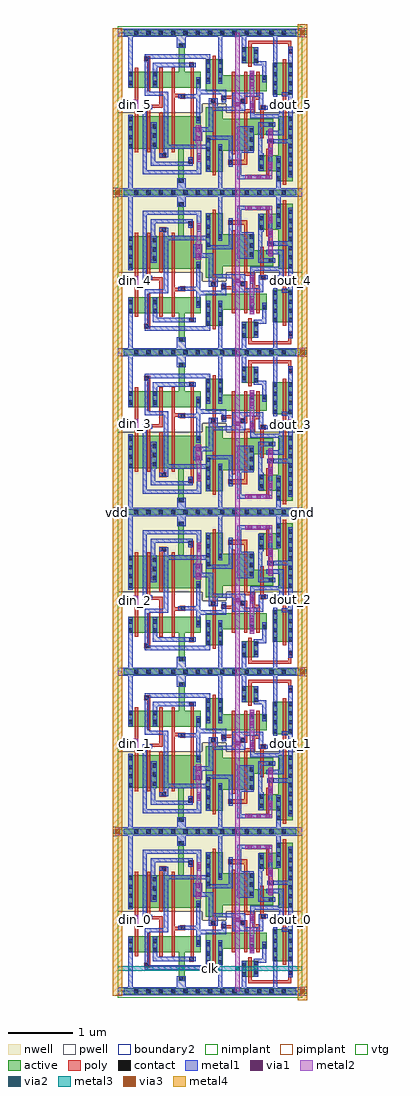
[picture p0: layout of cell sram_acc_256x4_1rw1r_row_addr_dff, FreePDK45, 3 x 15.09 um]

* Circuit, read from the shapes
.subckt sram_acc_256x4_1rw1r_row_addr_dff clk din_0 din_1 din_2 din_3 din_4 din_5 dout_0 dout_1 dout_2 dout_3 dout_4 dout_5 gnd vdd
M1 n1 din_0 gnd gnd nfet w=0.25u l=0.05u
M2 n2 din_1 gnd gnd nfet w=0.25u l=0.05u
M3 n3 din_2 gnd gnd nfet w=0.25u l=0.05u
M4 n4 din_3 gnd gnd nfet w=0.25u l=0.05u
M5 n5 din_4 gnd gnd nfet w=0.25u l=0.05u
M6 n6 din_5 gnd gnd nfet w=0.25u l=0.05u
M7 n7 n8 n1 gnd nfet w=0.25u l=0.05u
M8 n9 n10 n2 gnd nfet w=0.25u l=0.05u
M9 n11 n12 n3 gnd nfet w=0.25u l=0.05u
M10 n13 n14 n4 gnd nfet w=0.25u l=0.05u
M11 n15 n16 n5 gnd nfet w=0.25u l=0.05u
M12 n17 n18 n6 gnd nfet w=0.25u l=0.05u
M13 n19 clk n7 gnd nfet w=0.25u l=0.05u
M14 n20 clk n9 gnd nfet w=0.25u l=0.05u
M15 n21 clk n11 gnd nfet w=0.25u l=0.05u
M16 n22 clk n13 gnd nfet w=0.25u l=0.05u
M17 n23 clk n15 gnd nfet w=0.25u l=0.05u
M18 n24 clk n17 gnd nfet w=0.25u l=0.05u
M19 gnd n25 n19 gnd nfet w=0.25u l=0.05u
M20 gnd n26 n20 gnd nfet w=0.25u l=0.05u
M21 gnd n27 n21 gnd nfet w=0.25u l=0.05u
M22 gnd n28 n22 gnd nfet w=0.25u l=0.05u
M23 gnd n29 n23 gnd nfet w=0.25u l=0.05u
M24 gnd n30 n24 gnd nfet w=0.25u l=0.05u
M25 n25 n7 gnd gnd nfet w=0.25u l=0.05u
M26 n26 n9 gnd gnd nfet w=0.25u l=0.05u
M27 n27 n11 gnd gnd nfet w=0.25u l=0.05u
M28 n28 n13 gnd gnd nfet w=0.25u l=0.05u
M29 n29 n15 gnd gnd nfet w=0.25u l=0.05u
M30 n30 n17 gnd gnd nfet w=0.25u l=0.05u
M31 gnd clk n8 gnd nfet w=0.5u l=0.05u
M32 gnd clk n10 gnd nfet w=0.5u l=0.05u
M33 gnd clk n12 gnd nfet w=0.5u l=0.05u
M34 gnd clk n14 gnd nfet w=0.5u l=0.05u
M35 gnd clk n16 gnd nfet w=0.5u l=0.05u
M36 gnd clk n18 gnd nfet w=0.5u l=0.05u
M37 n31 n25 gnd gnd nfet w=0.25u l=0.05u
M38 n32 n26 gnd gnd nfet w=0.25u l=0.05u
M39 n33 n27 gnd gnd nfet w=0.25u l=0.05u
M40 n34 n28 gnd gnd nfet w=0.25u l=0.05u
M41 n35 n29 gnd gnd nfet w=0.25u l=0.05u
M42 n36 n30 gnd gnd nfet w=0.25u l=0.05u
M43 n37 clk n31 gnd nfet w=0.25u l=0.05u
M44 n38 clk n32 gnd nfet w=0.25u l=0.05u
M45 n39 clk n33 gnd nfet w=0.25u l=0.05u
M46 n40 clk n34 gnd nfet w=0.25u l=0.05u
M47 n41 clk n35 gnd nfet w=0.25u l=0.05u
M48 n42 clk n36 gnd nfet w=0.25u l=0.05u
M49 n43 dout_0 gnd gnd nfet w=0.25u l=0.05u
M50 n44 dout_1 gnd gnd nfet w=0.25u l=0.05u
M51 n45 dout_2 gnd gnd nfet w=0.25u l=0.05u
M52 n46 dout_3 gnd gnd nfet w=0.25u l=0.05u
M53 n47 dout_4 gnd gnd nfet w=0.25u l=0.05u
M54 n48 dout_5 gnd gnd nfet w=0.25u l=0.05u
M55 n43 n8 n37 gnd nfet w=0.25u l=0.05u
M56 n44 n10 n38 gnd nfet w=0.25u l=0.05u
M57 n45 n12 n39 gnd nfet w=0.25u l=0.05u
M58 n46 n14 n40 gnd nfet w=0.25u l=0.05u
M59 n47 n16 n41 gnd nfet w=0.25u l=0.05u
M60 n48 n18 n42 gnd nfet w=0.25u l=0.05u
M61 dout_0 n37 gnd gnd nfet w=0.5u l=0.05u
M62 dout_1 n38 gnd gnd nfet w=0.5u l=0.05u
M63 dout_2 n39 gnd gnd nfet w=0.5u l=0.05u
M64 dout_3 n40 gnd gnd nfet w=0.5u l=0.05u
M65 dout_4 n41 gnd gnd nfet w=0.5u l=0.05u
M66 dout_5 n42 gnd gnd nfet w=0.5u l=0.05u
M67 n49 din_0 vdd vdd pfet w=0.5u l=0.05u
M68 n50 din_1 vdd vdd pfet w=0.5u l=0.05u
M69 n51 din_2 vdd vdd pfet w=0.5u l=0.05u
M70 n52 din_3 vdd vdd pfet w=0.5u l=0.05u
M71 n53 din_4 vdd vdd pfet w=0.5u l=0.05u
M72 n54 din_5 vdd vdd pfet w=0.5u l=0.05u
M73 n7 clk n49 vdd pfet w=0.5u l=0.05u
M74 n9 clk n50 vdd pfet w=0.5u l=0.05u
M75 n11 clk n51 vdd pfet w=0.5u l=0.05u
M76 n13 clk n52 vdd pfet w=0.5u l=0.05u
M77 n15 clk n53 vdd pfet w=0.5u l=0.05u
M78 n17 clk n54 vdd pfet w=0.5u l=0.05u
M79 n55 n8 n7 vdd pfet w=0.5u l=0.05u
M80 n56 n10 n9 vdd pfet w=0.5u l=0.05u
M81 n57 n12 n11 vdd pfet w=0.5u l=0.05u
M82 n58 n14 n13 vdd pfet w=0.5u l=0.05u
M83 n59 n16 n15 vdd pfet w=0.5u l=0.05u
M84 n60 n18 n17 vdd pfet w=0.5u l=0.05u
M85 vdd n25 n55 vdd pfet w=0.5u l=0.05u
M86 vdd n26 n56 vdd pfet w=0.5u l=0.05u
M87 vdd n27 n57 vdd pfet w=0.5u l=0.05u
M88 vdd n28 n58 vdd pfet w=0.5u l=0.05u
M89 vdd n29 n59 vdd pfet w=0.5u l=0.05u
M90 vdd n30 n60 vdd pfet w=0.5u l=0.05u
M91 n25 n7 vdd vdd pfet w=0.5u l=0.05u
M92 n26 n9 vdd vdd pfet w=0.5u l=0.05u
M93 n27 n11 vdd vdd pfet w=0.5u l=0.05u
M94 n28 n13 vdd vdd pfet w=0.5u l=0.05u
M95 n29 n15 vdd vdd pfet w=0.5u l=0.05u
M96 n30 n17 vdd vdd pfet w=0.5u l=0.05u
M97 vdd clk n8 vdd pfet w=1u l=0.05u
M98 vdd clk n10 vdd pfet w=1u l=0.05u
M99 vdd clk n12 vdd pfet w=1u l=0.05u
M100 vdd clk n14 vdd pfet w=1u l=0.05u
M101 vdd clk n16 vdd pfet w=1u l=0.05u
M102 vdd clk n18 vdd pfet w=1u l=0.05u
M103 n61 n25 vdd vdd pfet w=0.5u l=0.05u
M104 n62 n26 vdd vdd pfet w=0.5u l=0.05u
M105 n63 n27 vdd vdd pfet w=0.5u l=0.05u
M106 n64 n28 vdd vdd pfet w=0.5u l=0.05u
M107 n65 n29 vdd vdd pfet w=0.5u l=0.05u
M108 n66 n30 vdd vdd pfet w=0.5u l=0.05u
M109 n37 n8 n61 vdd pfet w=0.5u l=0.05u
M110 n38 n10 n62 vdd pfet w=0.5u l=0.05u
M111 n39 n12 n63 vdd pfet w=0.5u l=0.05u
M112 n40 n14 n64 vdd pfet w=0.5u l=0.05u
M113 n41 n16 n65 vdd pfet w=0.5u l=0.05u
M114 n42 n18 n66 vdd pfet w=0.5u l=0.05u
M115 n67 clk n37 vdd pfet w=0.25u l=0.05u
M116 n68 clk n38 vdd pfet w=0.25u l=0.05u
M117 n69 clk n39 vdd pfet w=0.25u l=0.05u
M118 n70 clk n40 vdd pfet w=0.25u l=0.05u
M119 n71 clk n41 vdd pfet w=0.25u l=0.05u
M120 n72 clk n42 vdd pfet w=0.25u l=0.05u
M121 vdd dout_0 n67 vdd pfet w=0.25u l=0.05u
M122 vdd dout_1 n68 vdd pfet w=0.25u l=0.05u
M123 vdd dout_2 n69 vdd pfet w=0.25u l=0.05u
M124 vdd dout_3 n70 vdd pfet w=0.25u l=0.05u
M125 vdd dout_4 n71 vdd pfet w=0.25u l=0.05u
M126 vdd dout_5 n72 vdd pfet w=0.25u l=0.05u
M127 dout_0 n37 vdd vdd pfet w=1u l=0.05u
M128 dout_1 n38 vdd vdd pfet w=1u l=0.05u
M129 dout_2 n39 vdd vdd pfet w=1u l=0.05u
M130 dout_3 n40 vdd vdd pfet w=1u l=0.05u
M131 dout_4 n41 vdd vdd pfet w=1u l=0.05u
M132 dout_5 n42 vdd vdd pfet w=1u l=0.05u
.ends

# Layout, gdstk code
import gdstk
lib = gdstk.Library(unit=1e-6, precision=5e-10)
def R(c, l, rs):  # rectangles x0, y0, x1, y1
    for r in rs: c.add(gdstk.rectangle(r[:2], r[2:], *l))
def A(c, l, x, y, w, h, nx, ny, dx, dy):  # array of equal rectangles
    R(c, l, [(x+i*dx, y+j*dy, x+i*dx+w, y+j*dy+h) for i in range(nx) for j in range(ny)])
def P(c, l, *ps):  # polygons
    for p in ps: c.add(gdstk.Polygon(p, *l))
active = (1, 0)
pwell = (2, 0)
nwell = (3, 0)
nimplant = (4, 0)
pimplant = (5, 0)
vtg = (6, 0)
poly = (9, 0)
contact = (10, 0)
metal1 = (11, 0)
via1 = (12, 0)
metal2 = (13, 0)
via2 = (14, 0)
metal3 = (15, 0)
via3 = (16, 0)
metal4 = (17, 0)
boundary2 = (239, 0)

dff = lib.new_cell('dff')
A(dff, active, 0.2675, 0.6, 0.05, 0.25, 4, 1, 0.19, 0)
A(dff, active, 0.3175, 0.6, 0.14, 0.25, 3, 1, 0.19, 0)
A(dff, active, 1.7675, 0.6575, 0.05, 0.25, 3, 1, 0.19, 0)
A(dff, active, 0.2675, 1.2925, 0.05, 0.5, 4, 1, 0.19, 0)
A(dff, active, 0.3175, 1.2925, 0.14, 0.5, 3, 1, 0.19, 0)
R(dff, active, [(0.1,-0.045,2.76,0.045), (1.9175,0.2225,2.0225,0.4725), (2.0225,0.2225,2.0725,0.4725), (2.0725,0.2225,2.1775,0.4725), (1.3675,0.4075,1.4725,0.9075), (1.4725,0.4075,1.5225,0.9075), (2.4025,0.4625,2.5575,0.9625), (2.5575,0.4625,2.6075,0.9625), (2.6075,0.4625,2.7125,0.9625), (0.1625,0.6,0.2675,0.85), (1.1325,0.6,1.1825,0.85), (1.1825,0.6,1.2875,0.85), (1.8175,0.6575,1.9575,0.9075), (2.0075,0.6575,2.1475,0.9075), (2.1975,0.6575,2.3075,0.9075), (1.3675,1.15,1.4725,2.15), (1.4725,1.15,1.5225,2.15), (0.1625,1.2925,0.2675,1.7925), (1.1325,1.2925,1.1825,1.7925), (1.1825,1.2925,1.2875,1.7925), (2.5575,1.2925,2.6075,2.2925), (2.6075,1.2925,2.7125,2.2925), (1.7675,1.3275,1.8175,1.8275), (1.8175,1.3275,1.9575,1.8275), (1.9575,1.3275,2.0075,1.8275), (2.2075,1.3275,2.2575,1.5775), (2.2575,1.3275,2.4075,1.5775), (2.1925,1.8925,2.2975,2.1425), (2.2975,1.8925,2.3475,2.1425), (0.1,2.425,2.76,2.515)])
P(dff, active, [(0.8875,1.2925),(0.8875,1.7925),(0.9375,1.7925),(0.9375,2.3225),(1.0275,2.3225),(1.0275,1.7925),(1.1325,1.7925),(1.1325,1.2925)],
  [(1.5225,1.15),(1.5225,2.15),(1.6275,2.15),(1.6275,1.8275),(1.7675,1.8275),(1.7675,1.3275),(1.6275,1.3275),(1.6275,1.15)],
  [(2.0075,1.3275),(2.0075,1.8275),(2.1125,1.8275),(2.1125,1.5775),(2.2075,1.5775),(2.2075,1.3275)],
  [(2.4875,1.2925),(2.4875,1.8925),(2.3475,1.8925),(2.3475,2.1425),(2.4525,2.1425),(2.4525,2.2925),(2.5575,2.2925),(2.5575,1.2925)],
  [(0.9475,0.165),(0.9475,0.6),(0.8875,0.6),(0.8875,0.85),(1.1325,0.85),(1.1325,0.6),(1.0375,0.6),(1.0375,0.165)],
  [(1.5225,0.4075),(1.5225,0.9075),(1.7675,0.9075),(1.7675,0.6575),(1.6275,0.6575),(1.6275,0.4075)])
P(dff, pwell, [(0,-0.1),(0,1.235),(1.3125,1.235),(1.3125,1.095),(1.6825,1.095),(1.6825,1.235),(2.86,1.235),(2.86,-0.1)])
P(dff, nwell, [(1.3125,1.095),(1.3125,1.235),(0,1.235),(0,2.57),(2.86,2.57),(2.86,1.235),(1.6825,1.235),(1.6825,1.095)])
A(dff, nimplant, 0.2675, 0.6, 0.05, 0.25, 4, 1, 0.19, 0)
A(dff, nimplant, 0.3175, 0.6, 0.14, 0.25, 3, 1, 0.19, 0)
A(dff, nimplant, 1.7675, 0.6575, 0.05, 0.25, 3, 1, 0.19, 0)
R(dff, nimplant, [(1.9175,0.2225,2.0225,0.4725), (2.0225,0.2225,2.0725,0.4725), (2.0725,0.2225,2.1775,0.4725), (1.3675,0.4075,1.4725,0.9075), (1.4725,0.4075,1.5225,0.9075), (2.4025,0.4625,2.5575,0.9625), (2.5575,0.4625,2.6075,0.9625), (2.6075,0.4625,2.7125,0.9625), (0.1625,0.6,0.2675,0.85), (1.1325,0.6,1.1825,0.85), (1.1825,0.6,1.2875,0.85), (1.8175,0.6575,1.9575,0.9075), (2.0075,0.6575,2.1475,0.9075), (2.1975,0.6575,2.3075,0.9075), (0.1,2.425,2.76,2.515)])
P(dff, nimplant, [(0.9475,0.165),(0.9475,0.6),(0.8875,0.6),(0.8875,0.85),(1.1325,0.85),(1.1325,0.6),(1.0375,0.6),(1.0375,0.165)],
  [(1.5225,0.4075),(1.5225,0.9075),(1.7675,0.9075),(1.7675,0.6575),(1.6275,0.6575),(1.6275,0.4075)])
A(dff, pimplant, 0.2675, 1.2925, 0.05, 0.5, 4, 1, 0.19, 0)
A(dff, pimplant, 0.3175, 1.2925, 0.14, 0.5, 3, 1, 0.19, 0)
R(dff, pimplant, [(0.1,-0.045,2.76,0.045), (1.3675,1.15,1.4725,2.15), (1.4725,1.15,1.5225,2.15), (0.1625,1.2925,0.2675,1.7925), (1.1325,1.2925,1.1825,1.7925), (1.1825,1.2925,1.2875,1.7925), (2.5575,1.2925,2.6075,2.2925), (2.6075,1.2925,2.7125,2.2925), (1.7675,1.3275,1.8175,1.8275), (1.8175,1.3275,1.9575,1.8275), (1.9575,1.3275,2.0075,1.8275), (2.2075,1.3275,2.2575,1.5775), (2.2575,1.3275,2.4075,1.5775), (2.1925,1.8925,2.2975,2.1425), (2.2975,1.8925,2.3475,2.1425)])
P(dff, pimplant, [(0.8875,1.2925),(0.8875,1.7925),(0.9375,1.7925),(0.9375,2.3225),(1.0275,2.3225),(1.0275,1.7925),(1.1325,1.7925),(1.1325,1.2925)],
  [(1.5225,1.15),(1.5225,2.15),(1.6275,2.15),(1.6275,1.8275),(1.7675,1.8275),(1.7675,1.3275),(1.6275,1.3275),(1.6275,1.15)],
  [(2.0075,1.3275),(2.0075,1.8275),(2.1125,1.8275),(2.1125,1.5775),(2.2075,1.5775),(2.2075,1.3275)],
  [(2.4875,1.2925),(2.4875,1.8925),(2.3475,1.8925),(2.3475,2.1425),(2.4525,2.1425),(2.4525,2.2925),(2.5575,2.2925),(2.5575,1.2925)])
R(dff, vtg, [(0,-0.1,2.86,2.57)])
A(dff, poly, 0.2675, 0.6, 0.05, 0.25, 4, 1, 0.19, 0)
A(dff, poly, 1.7675, 0.6025, 0.05, 0.055, 3, 1, 0.19, 0)
A(dff, poly, 1.7675, 0.6575, 0.05, 0.25, 3, 1, 0.19, 0)
A(dff, poly, 0.2675, 1.2925, 0.05, 0.5, 4, 1, 0.19, 0)
R(dff, poly, [(2.0225,0.2225,2.0725,0.4725), (1.4725,0.3525,1.5225,0.4075), (1.4725,0.4075,1.5225,0.9075), (2.5575,0.4075,2.6075,0.4625), (2.5575,0.4625,2.6075,0.9625), (2.0225,0.4725,2.0725,0.5275), (0.2675,0.545,0.3175,0.6), (0.6475,0.545,0.6975,0.6), (0.8375,0.545,0.8875,0.6), (1.1325,0.6,1.1825,0.85), (0.4575,0.85,0.5075,0.905), (1.1325,0.85,1.1825,1.2925), (1.4725,1.15,1.5225,2.15), (0.6475,1.2375,0.6975,1.2925), (1.1325,1.2925,1.1825,1.7925), (2.5575,1.2925,2.6075,2.2925), (1.7675,1.3275,1.8175,1.8275), (1.9575,1.3275,2.0075,1.8275), (2.2075,1.3275,2.2575,1.5775), (2.2075,1.5775,2.2575,1.6325), (0.2675,1.7925,0.3175,1.8475), (0.4575,1.7925,0.5075,1.8475), (0.8375,1.7925,0.8875,1.8475), (1.7675,1.8275,1.8175,1.8825), (2.2975,1.8925,2.3475,2.1425), (2.2975,2.1425,2.3475,2.1975), (1.4725,2.15,1.5225,2.205), (2.5575,2.2925,2.6075,2.3475)])
P(dff, poly, [(0.2675,0.85),(0.2675,1.0675),(0.2425,1.0675),(0.2425,1.1425),(0.2675,1.1425),(0.2675,1.2925),(0.3175,1.2925),(0.3175,0.85)],
  [(0.4125,0.365),(0.4125,0.44),(0.4575,0.44),(0.4575,0.6),(0.5075,0.6),(0.5075,0.365)],
  [(0.6475,1.7925),(0.6475,1.9325),(0.7525,1.9325),(0.7525,1.8575),(0.6975,1.8575),(0.6975,1.7925)],
  [(0.6475,0.85),(0.6475,1.1125),(0.4325,1.1125),(0.4325,1.1875),(0.4575,1.1875),(0.4575,1.2925),(0.5075,1.2925),(0.5075,1.1625),(0.6975,1.1625),(0.6975,0.85)],
  [(0.8375,0.85),(0.8375,1.2925),(0.8875,1.2925),(0.8875,0.995),(0.9725,0.995),(0.9725,1.02),(1.0475,1.02),(1.0475,0.945),(0.8875,0.945),(0.8875,0.85)],
  [(1.1325,1.7925),(1.1325,1.9525),(1.0925,1.9525),(1.0925,2.0275),(1.1825,2.0275),(1.1825,1.7925)],
  [(1.1075,0.46),(1.1075,0.535),(1.1325,0.535),(1.1325,0.6),(1.1825,0.6),(1.1825,0.46)],
  [(1.4725,0.9075),(1.4725,1.01),(1.4425,1.01),(1.4425,1.085),(1.4725,1.085),(1.4725,1.15),(1.5225,1.15),(1.5225,0.9075)],
  [(1.7675,0.9075),(1.7675,0.9725),(1.6075,0.9725),(1.6075,1.0475),(1.6825,1.0475),(1.6825,1.0225),(1.7675,1.0225),(1.7675,1.3275),(1.8175,1.3275),(1.8175,0.9075)],
  [(1.9575,1.8275),(1.9575,1.9675),(1.7125,1.9675),(1.7125,2.0425),(2.0075,2.0425),(2.0075,1.8275)],
  [(1.9575,0.9075),(1.9575,1.0225),(1.9025,1.0225),(1.9025,1.0975),(2.0075,1.0975),(2.0075,0.9075)],
  [(2.3425,1.6425),(2.3425,1.7925),(2.2975,1.7925),(2.2975,1.8925),(2.3475,1.8925),(2.3475,1.8425),(2.3925,1.8425),(2.3925,1.7175),(2.4175,1.7175),(2.4175,1.6425)],
  [(2.2075,1.1225),(2.2075,1.3275),(2.2575,1.3275),(2.2575,1.1975),(2.2925,1.1975),(2.2925,1.1225)],
  [(2.0225,0.1225),(2.0225,0.2225),(2.0725,0.2225),(2.0725,0.1725),(2.6375,0.1725),(2.6375,0.3225),(2.7125,0.3225),(2.7125,0.2475),(2.6875,0.2475),(2.6875,0.1225)],
  [(2.1475,0.9075),(2.1475,0.9875),(2.0825,0.9875),(2.0825,1.1825),(1.9575,1.1825),(1.9575,1.3275),(2.0075,1.3275),(2.0075,1.2325),(2.1325,1.2325),(2.1325,1.0375),(2.1975,1.0375),(2.1975,0.9075)],
  [(2.5575,0.9625),(2.5575,1.0875),(2.3975,1.0875),(2.3975,1.1625),(2.4725,1.1625),(2.4725,1.1375),(2.5575,1.1375),(2.5575,1.2925),(2.6075,1.2925),(2.6075,0.9625)])
A(dff, contact, 0.2575, -0.0325, 0.065, 0.065, 13, 2, 0.19, 2.47)
A(dff, contact, 1.3725, 0.4125, 0.065, 0.065, 1, 3, 0, 0.14)
A(dff, contact, 1.5575, 0.4125, 0.065, 0.065, 1, 3, 0, 0.14)
A(dff, contact, 2.4075, 0.4675, 0.065, 0.065, 1, 4, 0, 0.14)
A(dff, contact, 2.6425, 0.4675, 0.065, 0.065, 1, 4, 0, 0.14)
A(dff, contact, 2.6425, 1.2975, 0.065, 0.065, 1, 7, 0, 0.14)
A(dff, contact, 0.1675, 1.3025, 0.065, 0.065, 1, 4, 0, 0.14)
A(dff, contact, 0.5425, 1.4175, 0.065, 0.065, 1, 3, 0, 0.14)
A(dff, contact, 2.0425, 1.4775, 0.065, 0.065, 1, 3, 0, 0.14)
A(dff, contact, 1.3725, 1.6275, 0.065, 0.065, 1, 4, 0, 0.14)
A(dff, contact, 2.4575, 1.9425, 0.065, 0.065, 1, 3, 0, 0.14)
R(dff, contact, [(0.9525,0.17,1.0175,0.235), (1.9225,0.2275,1.9875,0.2925), (2.6425,0.2525,2.7075,0.3175), (2.1075,0.2625,2.1725,0.3275), (1.9225,0.3675,1.9875,0.4325), (0.4175,0.37,0.4825,0.435), (2.1075,0.4025,2.1725,0.4675), (1.1125,0.465,1.1775,0.53), (0.1675,0.605,0.2325,0.67), (0.5475,0.605,0.6125,0.67), (2.0475,0.6625,2.1125,0.7275), (2.2375,0.6625,2.3025,0.7275), (1.2175,0.72,1.2825,0.785), (0.1675,0.745,0.2325,0.81), (0.5475,0.745,0.6125,0.81), (0.9775,0.95,1.0425,1.015), (1.6125,0.9775,1.6775,1.0425), (1.4475,1.015,1.5125,1.08), (1.9075,1.0275,1.9725,1.0925), (0.2475,1.0725,0.3125,1.1375), (2.4025,1.0925,2.4675,1.1575), (0.4375,1.1175,0.5025,1.1825), (2.2225,1.1275,2.2875,1.1925), (1.2175,1.2975,1.2825,1.3625), (2.3375,1.3875,2.4025,1.4525), (2.3475,1.6475,2.4125,1.7125), (1.5575,1.7575,1.6225,1.8225), (0.6825,1.8625,0.7475,1.9275), (2.1975,1.8975,2.2625,1.9625), (1.0975,1.9575,1.1625,2.0225), (1.7175,1.9725,1.7825,2.0375), (2.1975,2.0375,2.2625,2.1025), (0.9575,2.2525,1.0225,2.3175)])
R(dff, metal1, [(0,-0.065,2.86,0.065), (0,-0.065,2.86,0.065), (2.0475,0.5875,2.1125,0.8625), (2.6425,0.915,2.7075,1.1275), (1.7775,0.9275,1.9725,1.2075), (0.245,1.0375,0.3225,1.1725), (2.6325,1.0475,2.71,1.1825), (2.3275,1.7775,2.3925,2.1275), (0,2.405,2.76,2.535), (0,2.405,2.76,2.535)])
P(dff, metal1, [(0.1675,1.2675),(0.1675,2.405),(0.1,2.405),(0.1,2.535),(2.86,2.535),(2.86,2.405),(2.5225,2.405),(2.5225,1.9075),(2.4575,1.9075),(2.4575,2.405),(1.6225,2.405),(1.6225,1.7225),(1.5575,1.7225),(1.5575,2.405),(1.0575,2.405),(1.0575,2.2525),(0.9225,2.2525),(0.9225,2.405),(0.2325,2.405),(0.2325,1.2675)],
  [(0.1,-0.065),(0.1,0.065),(0.1675,0.065),(0.1675,0.845),(0.2325,0.845),(0.2325,0.065),(0.9175,0.065),(0.9175,0.235),(1.0525,0.235),(1.0525,0.065),(1.5575,0.065),(1.5575,0.7925),(1.6225,0.7925),(1.6225,0.065),(1.9225,0.065),(1.9225,0.4675),(1.9875,0.4675),(1.9875,0.065),(2.4075,0.065),(2.4075,0.9875),(2.4725,0.9875),(2.4725,0.065),(2.76,0.065),(2.76,-0.065)],
  [(0.4175,0.335),(0.4175,0.975),(0.7175,0.975),(0.7175,1.8625),(0.6475,1.8625),(0.6475,1.9275),(0.7825,1.9275),(0.7825,1.7975),(1.3725,1.7975),(1.3725,2.1475),(1.4375,2.1475),(1.4375,1.6575),(1.7175,1.6575),(1.7175,2.0725),(1.7825,2.0725),(1.7825,1.5925),(1.3725,1.5925),(1.3725,1.7325),(0.7825,1.7325),(0.7825,0.91),(0.4825,0.91),(0.4825,0.4),(1.3725,0.4),(1.3725,0.7925),(1.4375,0.7925),(1.4375,0.335)],
  [(1.7775,0.9275),(1.7775,1.1425),(1.5475,1.1425),(1.5475,1.015),(1.4125,1.015),(1.4125,1.4625),(1.1725,1.4625),(1.1725,1.6675),(1.3075,1.6675),(1.3075,1.5275),(1.4775,1.5275),(1.4775,1.2075),(1.9725,1.2075),(1.9725,0.9925),(2.1875,0.9925),(2.1875,1.1925),(2.3225,1.1925),(2.3225,1.1275),(2.2525,1.1275),(2.2525,0.9275)],
  [(0.3875,1.1175),(0.3875,2.1875),(1.2925,2.1875),(1.2925,1.8625),(1.2275,1.8625),(1.2275,2.1225),(0.4525,2.1225),(0.4525,1.1825),(0.5375,1.1825),(0.5375,1.1175)],
  [(0.5175,1.3825),(0.5175,2.0575),(1.1625,2.0575),(1.1625,1.9225),(1.0975,1.9225),(1.0975,1.9925),(0.5825,1.9925),(0.5825,1.7975),(0.6075,1.7975),(0.6075,1.3825)],
  [(0.5475,0.465),(0.5475,0.845),(0.6125,0.845),(0.6125,0.53),(1.2125,0.53),(1.2125,0.465)],
  [(1.2175,0.685),(1.2175,0.95),(0.9425,0.95),(0.9425,1.015),(1.2175,1.015),(1.2175,1.3975),(1.2825,1.3975),(1.2825,0.95),(1.6125,0.95),(1.6125,1.0775),(1.6775,1.0775),(1.6775,0.885),(1.2825,0.885),(1.2825,0.685)],
  [(1.8475,1.4425),(1.8475,2.2675),(2.3925,2.2675),(2.3925,2.2025),(1.9125,2.2025),(1.9125,1.8575),(2.1075,1.8575),(2.1075,1.4425)],
  [(2.0525,1.0575),(2.0525,1.3225),(2.5025,1.3225),(2.5025,1.5175),(2.3025,1.5175),(2.3025,1.5825),(2.5675,1.5825),(2.5675,1.0575),(2.4025,1.0575),(2.4025,1.1925),(2.5025,1.1925),(2.5025,1.2575),(2.1175,1.2575),(2.1175,1.0575)],
  [(2.1725,1.3875),(2.1725,2.1375),(2.2625,2.1375),(2.2625,1.8625),(2.2375,1.8625),(2.2375,1.4525),(2.4375,1.4525),(2.4375,1.3875)],
  [(2.6425,0.2175),(2.6425,0.9175),(2.5375,0.9175),(2.5375,0.9825),(2.6425,0.9825),(2.6425,1.6475),(2.3125,1.6475),(2.3125,1.7125),(2.6425,1.7125),(2.6425,2.2375),(2.7075,2.2375),(2.7075,0.2175)],
  [(2.1075,0.2275),(2.1075,0.5025),(2.2375,0.5025),(2.2375,0.7625),(2.3025,0.7625),(2.3025,0.4375),(2.1725,0.4375),(2.1725,0.2275)])
A(dff, via1, 2.0125, 2.2025, 0.065, 0.065, 3, 1, 0.14, 0)
R(dff, via1, [(2.0475,0.6225,2.1125,0.6875), (2.0475,0.7625,2.1125,0.8275), (0.2475,1.0725,0.3125,1.1375), (1.825,1.0725,1.89,1.1375), (2.64,1.0825,2.705,1.1475), (2.0525,1.0925,2.1175,1.1575), (1.2075,1.4625,1.2725,1.5275), (2.3375,1.5175,2.4025,1.5825), (1.2075,1.6025,1.2725,1.6675), (2.3275,1.8125,2.3925,1.8775), (1.2275,1.8975,1.2925,1.9625), (2.3275,2.0275,2.3925,2.0925)])
R(dff, metal2, [(2.0475,0.5875,2.1175,1.1925), (0.245,1.0375,0.3225,1.1725), (0.245,1.0375,0.3225,1.1725), (1.82,1.0375,1.8975,1.1725), (1.82,1.0375,1.8975,1.1725), (2.6325,1.0475,2.71,1.1825), (2.6325,1.0475,2.71,1.1825)])
P(dff, metal2, [(1.2075,1.4275),(1.2075,1.7025),(1.2225,1.7025),(1.2225,1.9975),(1.2925,1.9975),(1.2925,1.4275)],
  [(2.3225,1.9925),(2.3225,2.1975),(1.9775,2.1975),(1.9775,2.2675),(2.3925,2.2675),(2.3925,1.9925)],
  [(2.3325,1.4825),(2.3325,1.7775),(2.3275,1.7775),(2.3275,1.9125),(2.4025,1.9125),(2.4025,1.4825)])
R(dff, boundary2, [(0,0,2.86,2.47)])
dff.add(gdstk.Label('clk', (1.865,1.15), layer=13, texttype=0))
dff.add(gdstk.Label('D', (0.295,1.15), layer=13, texttype=0))
dff.add(gdstk.Label('Q', (2.685,1.1), layer=13, texttype=0))
dff.add(gdstk.Label('gnd', (1.645,0.0425), layer=11, texttype=0))
dff.add(gdstk.Label('vdd', (2.035,2.5325), layer=11, texttype=0))
dff.add(gdstk.Label('D', (0.284,1.105), layer=13, texttype=0))
dff.add(gdstk.Label('Q', (2.671,1.115), layer=13, texttype=0))
dff.add(gdstk.Label('clk', (1.859,1.105), layer=13, texttype=0))
dff.add(gdstk.Label('vdd', (1.38,2.47), layer=11, texttype=0))
dff.add(gdstk.Label('gnd', (1.43,0), layer=11, texttype=0))

sram_acc_256x4_1rw1r_con = lib.new_cell('sram_acc_256x4_1rw1r_contact_17')
R(sram_acc_256x4_1rw1r_con, metal1, [(0,0.035,0.135,0.1)])
R(sram_acc_256x4_1rw1r_con, via1, [(0.035,0.035,0.1,0.1)])
R(sram_acc_256x4_1rw1r_con, metal2, [(0.0325,0,0.1025,0.135)])
R(sram_acc_256x4_1rw1r_con, boundary2, [(0,0,0.135,0.135)])

c_sram_acc_256x4_1rw1r_con = lib.new_cell('sram_acc_256x4_1rw1r_contact_18')
R(c_sram_acc_256x4_1rw1r_con, metal2, [(0.0325,0,0.1025,0.135)])
R(c_sram_acc_256x4_1rw1r_con, via2, [(0.035,0.035,0.1,0.1)])
R(c_sram_acc_256x4_1rw1r_con, metal3, [(0,0.0325,0.135,0.1025)])
R(c_sram_acc_256x4_1rw1r_con, boundary2, [(0,0,0.135,0.135)])

c_sram_acc_256x4_1rw1r_con_ = lib.new_cell('sram_acc_256x4_1rw1r_contact_21')
R(c_sram_acc_256x4_1rw1r_con_, metal3, [(0,0.035,0.14,0.105)])
R(c_sram_acc_256x4_1rw1r_con_, via3, [(0.035,0.035,0.105,0.105)])
R(c_sram_acc_256x4_1rw1r_con_, metal4, [(0,0,0.14,0.14)])
R(c_sram_acc_256x4_1rw1r_con_, boundary2, [(0,0,0.14,0.14)])

sram_acc_256x4_1rw1r_row = lib.new_cell('sram_acc_256x4_1rw1r_row_addr_dff')
R(sram_acc_256x4_1rw1r_row, metal2, [(1.82,0,1.89,14.82), (0.245,1.0375,0.3225,1.1725), (2.6325,1.0475,2.71,1.1825), (2.6325,3.7575,2.71,3.8925), (0.245,3.7675,0.3225,3.9025), (0.245,5.9775,0.3225,6.1125), (2.6325,5.9875,2.71,6.1225), (2.6325,8.6975,2.71,8.8325), (0.245,8.7075,0.3225,8.8425), (0.245,10.9175,0.3225,11.0525), (2.6325,10.9275,2.71,11.0625), (2.6325,13.6375,2.71,13.7725), (0.245,13.6475,0.3225,13.7825)])
R(sram_acc_256x4_1rw1r_row, metal3, [(0,0.315,2.86,0.385)])
R(sram_acc_256x4_1rw1r_row, metal4, [(2.79,-0.135,2.93,14.955), (-0.07,-0.07,0.07,14.89)])
R(sram_acc_256x4_1rw1r_row, boundary2, [(0,0,2.86,14.82)])
sram_acc_256x4_1rw1r_row.add(gdstk.Reference(dff, (0,0)))
sram_acc_256x4_1rw1r_row.add(gdstk.Reference(dff, (0,4.94), x_reflection=True))
sram_acc_256x4_1rw1r_row.add(gdstk.Reference(dff, (0,4.94)))
sram_acc_256x4_1rw1r_row.add(gdstk.Reference(dff, (0,9.88), x_reflection=True))
sram_acc_256x4_1rw1r_row.add(gdstk.Reference(dff, (0,9.88)))
sram_acc_256x4_1rw1r_row.add(gdstk.Reference(dff, (0,14.82), x_reflection=True))
sram_acc_256x4_1rw1r_row.add(gdstk.Reference(sram_acc_256x4_1rw1r_con, (-0.0675,2.4025)))
sram_acc_256x4_1rw1r_row.add(gdstk.Reference(c_sram_acc_256x4_1rw1r_con, (-0.0675,2.4025)))
sram_acc_256x4_1rw1r_row.add(gdstk.Reference(c_sram_acc_256x4_1rw1r_con_, (-0.07,2.4)))
sram_acc_256x4_1rw1r_row.add(gdstk.Reference(sram_acc_256x4_1rw1r_con, (-0.0675,2.4025)))
sram_acc_256x4_1rw1r_row.add(gdstk.Reference(c_sram_acc_256x4_1rw1r_con, (-0.0675,2.4025)))
sram_acc_256x4_1rw1r_row.add(gdstk.Reference(c_sram_acc_256x4_1rw1r_con_, (-0.07,2.4)))
sram_acc_256x4_1rw1r_row.add(gdstk.Reference(sram_acc_256x4_1rw1r_con, (-0.0675,7.3425)))
sram_acc_256x4_1rw1r_row.add(gdstk.Reference(c_sram_acc_256x4_1rw1r_con, (-0.0675,7.3425)))
sram_acc_256x4_1rw1r_row.add(gdstk.Reference(c_sram_acc_256x4_1rw1r_con_, (-0.07,7.34)))
sram_acc_256x4_1rw1r_row.add(gdstk.Reference(sram_acc_256x4_1rw1r_con, (-0.0675,7.3425)))
sram_acc_256x4_1rw1r_row.add(gdstk.Reference(c_sram_acc_256x4_1rw1r_con, (-0.0675,7.3425)))
sram_acc_256x4_1rw1r_row.add(gdstk.Reference(c_sram_acc_256x4_1rw1r_con_, (-0.07,7.34)))
sram_acc_256x4_1rw1r_row.add(gdstk.Reference(sram_acc_256x4_1rw1r_con, (-0.0675,12.2825)))
sram_acc_256x4_1rw1r_row.add(gdstk.Reference(c_sram_acc_256x4_1rw1r_con, (-0.0675,12.2825)))
sram_acc_256x4_1rw1r_row.add(gdstk.Reference(c_sram_acc_256x4_1rw1r_con_, (-0.07,12.28)))
sram_acc_256x4_1rw1r_row.add(gdstk.Reference(sram_acc_256x4_1rw1r_con, (-0.0675,12.2825)))
sram_acc_256x4_1rw1r_row.add(gdstk.Reference(c_sram_acc_256x4_1rw1r_con, (-0.0675,12.2825)))
sram_acc_256x4_1rw1r_row.add(gdstk.Reference(c_sram_acc_256x4_1rw1r_con_, (-0.07,12.28)))
sram_acc_256x4_1rw1r_row.add(gdstk.Reference(sram_acc_256x4_1rw1r_con, (2.7925,-0.0675)))
sram_acc_256x4_1rw1r_row.add(gdstk.Reference(c_sram_acc_256x4_1rw1r_con, (2.7925,-0.0675)))
sram_acc_256x4_1rw1r_row.add(gdstk.Reference(c_sram_acc_256x4_1rw1r_con_, (2.79,-0.07)))
sram_acc_256x4_1rw1r_row.add(gdstk.Reference(sram_acc_256x4_1rw1r_con, (2.7925,4.8725)))
sram_acc_256x4_1rw1r_row.add(gdstk.Reference(c_sram_acc_256x4_1rw1r_con, (2.7925,4.8725)))
sram_acc_256x4_1rw1r_row.add(gdstk.Reference(c_sram_acc_256x4_1rw1r_con_, (2.79,4.87)))
sram_acc_256x4_1rw1r_row.add(gdstk.Reference(sram_acc_256x4_1rw1r_con, (2.7925,4.8725)))
sram_acc_256x4_1rw1r_row.add(gdstk.Reference(c_sram_acc_256x4_1rw1r_con, (2.7925,4.8725)))
sram_acc_256x4_1rw1r_row.add(gdstk.Reference(c_sram_acc_256x4_1rw1r_con_, (2.79,4.87)))
sram_acc_256x4_1rw1r_row.add(gdstk.Reference(sram_acc_256x4_1rw1r_con, (2.7925,9.8125)))
sram_acc_256x4_1rw1r_row.add(gdstk.Reference(c_sram_acc_256x4_1rw1r_con, (2.7925,9.8125)))
sram_acc_256x4_1rw1r_row.add(gdstk.Reference(c_sram_acc_256x4_1rw1r_con_, (2.79,9.81)))
sram_acc_256x4_1rw1r_row.add(gdstk.Reference(sram_acc_256x4_1rw1r_con, (2.7925,9.8125)))
sram_acc_256x4_1rw1r_row.add(gdstk.Reference(c_sram_acc_256x4_1rw1r_con, (2.7925,9.8125)))
sram_acc_256x4_1rw1r_row.add(gdstk.Reference(c_sram_acc_256x4_1rw1r_con_, (2.79,9.81)))
sram_acc_256x4_1rw1r_row.add(gdstk.Reference(sram_acc_256x4_1rw1r_con, (2.7925,14.7525)))
sram_acc_256x4_1rw1r_row.add(gdstk.Reference(c_sram_acc_256x4_1rw1r_con, (2.7925,14.7525)))
sram_acc_256x4_1rw1r_row.add(gdstk.Reference(c_sram_acc_256x4_1rw1r_con_, (2.79,14.75)))
sram_acc_256x4_1rw1r_row.add(gdstk.Reference(c_sram_acc_256x4_1rw1r_con, (1.79,0.2825)))
sram_acc_256x4_1rw1r_row.add(gdstk.Label('vdd', (0,7.41), layer=17, texttype=0))
sram_acc_256x4_1rw1r_row.add(gdstk.Label('gnd', (2.86,7.41), layer=17, texttype=0))
sram_acc_256x4_1rw1r_row.add(gdstk.Label('din_0', (0.284,1.105), layer=13, texttype=0))
sram_acc_256x4_1rw1r_row.add(gdstk.Label('dout_0', (2.671,1.115), layer=13, texttype=0))
sram_acc_256x4_1rw1r_row.add(gdstk.Label('din_1', (0.284,3.835), layer=13, texttype=0))
sram_acc_256x4_1rw1r_row.add(gdstk.Label('dout_1', (2.671,3.825), layer=13, texttype=0))
sram_acc_256x4_1rw1r_row.add(gdstk.Label('din_2', (0.284,6.045), layer=13, texttype=0))
sram_acc_256x4_1rw1r_row.add(gdstk.Label('dout_2', (2.671,6.055), layer=13, texttype=0))
sram_acc_256x4_1rw1r_row.add(gdstk.Label('din_3', (0.284,8.775), layer=13, texttype=0))
sram_acc_256x4_1rw1r_row.add(gdstk.Label('dout_3', (2.671,8.765), layer=13, texttype=0))
sram_acc_256x4_1rw1r_row.add(gdstk.Label('din_4', (0.284,10.985), layer=13, texttype=0))
sram_acc_256x4_1rw1r_row.add(gdstk.Label('dout_4', (2.671,10.995), layer=13, texttype=0))
sram_acc_256x4_1rw1r_row.add(gdstk.Label('din_5', (0.284,13.715), layer=13, texttype=0))
sram_acc_256x4_1rw1r_row.add(gdstk.Label('dout_5', (2.671,13.705), layer=13, texttype=0))
sram_acc_256x4_1rw1r_row.add(gdstk.Label('clk', (1.43,0.35), layer=15, texttype=0))

lib.write_gds('sram_acc_256x4_1rw1r_row_addr_dff.gds')
